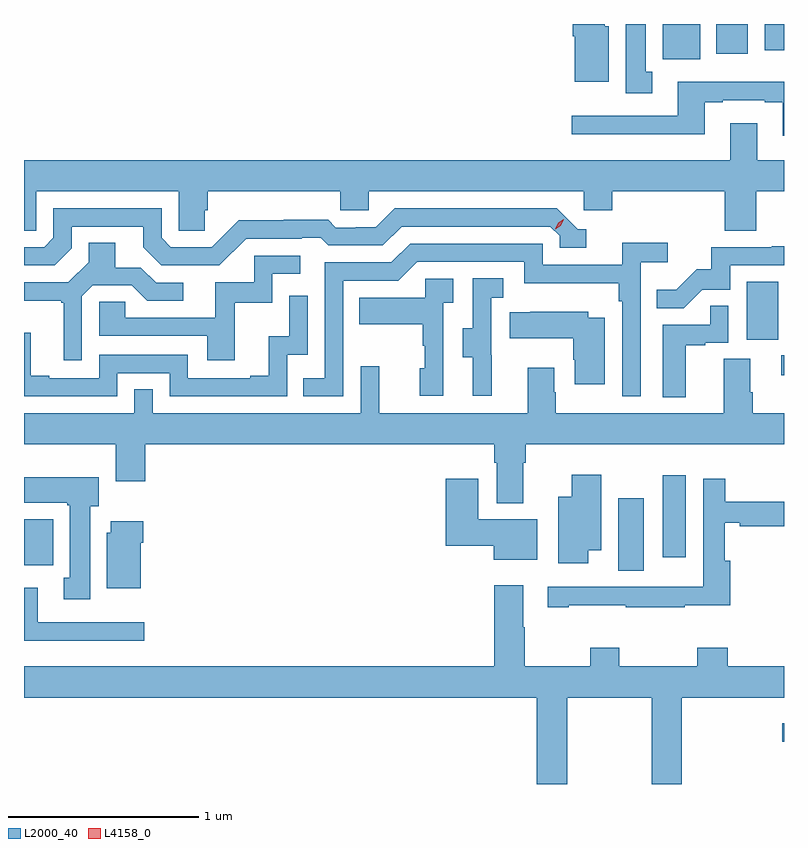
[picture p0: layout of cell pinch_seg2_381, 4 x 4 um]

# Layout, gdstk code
import gdstk
lib = gdstk.Library(unit=1e-6, precision=1e-09)
def R(c, l, rs):  # rectangles x0, y0, x1, y1
    for r in rs: c.add(gdstk.rectangle(r[:2], r[2:], *l))
def P(c, l, *ps):  # polygons
    for p in ps: c.add(gdstk.Polygon(p, *l))
L2000_40 = (2000, 40)
L4158_0 = (4158, 0)

pinch_seg2_381 = lib.new_cell('pinch_seg2_381')
R(pinch_seg2_381, L2000_40, [(977.181,607.443,977.189,607.54), (976.316,608.344,976.45,608.725), (973.189,608.372,973.342,608.614), (976.55,608.415,976.672,608.845), (977.175,609.372,977.189,609.477), (976.994,609.558,977.158,609.865), (976.55,611.036,976.747,611.221), (977.087,611.084,977.189,611.221)])
P(pinch_seg2_381, L2000_40, [(976.495,610.97),(976.462,610.97),(976.462,611.221),(976.355,611.221),(976.355,610.857),(976.495,610.857)],
  [(976.267,611.208),(976.246,611.208),(976.246,611.221),(976.076,611.221),(976.076,611.156),(976.088,611.156),(976.088,610.916),(976.267,610.916)],
  [(976.999,611.221),(976.889,611.221),(976.889,611.22),(976.832,611.22),(976.832,611.064),(976.999,611.064)],
  [(977.189,610.918),(976.631,610.918),(976.631,610.737),(976.071,610.737),(976.071,610.64),(976.771,610.64),(976.771,610.809),(976.867,610.809),(976.867,610.821),(977.087,610.821),(977.087,610.809),(977.183,610.809),(977.183,610.632),(977.189,610.632)],
  [(973.189,610.132),(973.254,610.132),(973.254,610.34),(974.004,610.34),(974.004,610.132),(974.141,610.132),(974.141,610.242),(974.156,610.242),(974.156,610.34),(974.853,610.34),(974.853,610.242),(975.003,610.242),(975.003,610.34),(976.134,610.34),(976.134,610.242),(976.286,610.242),(976.286,610.34),(976.877,610.34),(976.877,610.132),(977.042,610.132),(977.042,610.34),(977.189,610.34),(977.189,610.504),(977.047,610.504),(977.047,610.699),(976.907,610.699),(976.907,610.504),(973.189,610.504)],
  [(973.44,610.041),(973.44,610.155),(973.817,610.155),(973.817,610.045),(973.911,609.951),(974.217,609.951),(974.358,610.092),(974.651,610.092),(974.651,610.095),(974.75,610.095),(974.789,610.056),(975.078,610.056),(975.177,610.155),(975.96,610.155),(976.008,610.107),(976.008,610.044),(976.147,610.044),(976.147,610.14),(976.104,610.14),(975.993,610.251),(975.14,610.251),(975.041,610.152),(974.934,610.152),(974.934,610.149),(974.831,610.149),(974.789,610.192),(974.556,610.192),(974.556,610.189),(974.32,610.189),(974.178,610.047),(973.962,610.047),(973.914,610.095),(973.914,610.251),(973.344,610.251),(973.344,610.095),(973.296,610.047),(973.189,610.047),(973.189,609.951),(973.35,609.951)],
  [(973.494,609.789),(973.551,609.846),(973.757,609.846),(973.838,609.765),(974.026,609.765),(974.026,609.858),(973.884,609.858),(973.804,609.938),(973.669,609.938),(973.669,610.07),(973.529,610.07),(973.529,609.968),(973.422,609.861),(973.189,609.861),(973.189,609.764),(973.386,609.764),(973.386,609.753),(973.397,609.753),(973.397,609.45),(973.494,609.45)],
  [(974.868,609.87),(975.159,609.87),(975.258,609.969),(975.822,609.969),(975.822,609.857),(976.318,609.857),(976.318,609.761),(976.338,609.761),(976.338,609.261),(976.434,609.261),(976.434,609.968),(976.576,609.968),(976.576,610.07),(976.337,610.07),(976.337,609.954),(975.918,609.954),(975.918,610.065),(975.221,610.065),(975.122,609.966),(974.772,609.966),(974.772,609.357),(974.659,609.357),(974.659,609.261),(974.868,609.261)],
  [(976.76,609.822),(976.905,609.822),(976.905,609.951),(977.189,609.951),(977.189,610.052),(977.125,610.052),(977.125,610.047),(976.807,610.047),(976.807,609.93),(976.73,609.93),(976.623,609.823),(976.519,609.823),(976.519,609.724),(976.662,609.724)],
  [(974.297,609.753),(974.496,609.753),(974.496,609.906),(974.644,609.906),(974.644,610.002),(974.4,610.002),(974.4,609.861),(974.195,609.861),(974.195,609.675),(973.721,609.675),(973.721,609.759),(973.584,609.759),(973.584,609.579),(974.153,609.579),(974.153,609.45),(974.297,609.45)],
  [(975.65,609.477),(975.648,609.477),(975.648,609.781),(975.712,609.781),(975.712,609.884),(975.552,609.884),(975.552,609.621),(975.497,609.621),(975.497,609.466),(975.551,609.466),(975.551,609.264),(975.65,609.264)],
  [(975.396,609.755),(975.448,609.755),(975.448,609.879),(975.3,609.879),(975.3,609.781),(974.953,609.781),(974.953,609.641),(975.288,609.641),(975.288,609.527),(975.298,609.527),(975.298,609.408),(975.272,609.408),(975.272,609.264),(975.396,609.264)],
  [(973.68,609.384),(973.956,609.384),(973.956,609.261),(974.574,609.261),(974.574,609.48),(974.682,609.48),(974.682,609.79),(974.586,609.79),(974.586,609.578),(974.477,609.578),(974.477,609.37),(974.381,609.37),(974.381,609.357),(974.052,609.357),(974.052,609.48),(973.584,609.48),(973.584,609.357),(973.321,609.357),(973.321,609.37),(973.225,609.37),(973.225,609.595),(973.189,609.595),(973.189,609.261),(973.68,609.261)],
  [(976.672,609.531),(976.775,609.531),(976.775,609.543),(976.896,609.543),(976.896,609.737),(976.801,609.737),(976.801,609.639),(976.55,609.639),(976.55,609.257),(976.672,609.257)],
  [(976.246,609.676),(976.159,609.676),(976.159,609.706),(975.853,609.706),(975.853,609.703),(975.745,609.703),(975.745,609.566),(976.081,609.566),(976.081,609.453),(976.088,609.453),(976.088,609.324),(976.246,609.324)],
  [(975.817,608.912),(975.83,608.912),(975.83,609.008),(977.189,609.008),(977.189,609.172),(977.024,609.172),(977.024,609.284),(977.011,609.284),(977.011,609.458),(976.871,609.458),(976.871,609.172),(975.987,609.172),(975.987,609.284),(975.979,609.284),(975.979,609.412),(975.839,609.412),(975.839,609.172),(975.059,609.172),(975.059,609.421),(974.961,609.421),(974.961,609.172),(973.866,609.172),(973.866,609.299),(973.77,609.299),(973.77,609.172),(973.189,609.172),(973.189,609.008),(973.673,609.008),(973.673,608.814),(973.826,608.814),(973.826,609.008),(975.665,609.008),(975.665,608.912),(975.677,608.912),(975.677,608.699),(975.817,608.699)],
  [(976.159,608.45),(976.228,608.45),(976.228,608.848),(976.073,608.848),(976.073,608.734),(976.001,608.734),(976.001,608.382),(976.159,608.382)],
  [(973.537,608.682),(973.582,608.682),(973.582,608.836),(973.189,608.836),(973.189,608.702),(973.417,608.702),(973.417,608.689),(973.43,608.689),(973.43,608.306),(973.397,608.306),(973.397,608.193),(973.537,608.193)],
  [(975.889,608.614),(975.58,608.614),(975.58,608.827),(975.41,608.827),(975.41,608.474),(975.662,608.474),(975.662,608.402),(975.889,608.402)],
  [(976.057,608.161),(976.357,608.161),(976.357,608.151),(976.667,608.151),(976.667,608.161),(976.907,608.161),(976.907,608.395),(976.876,608.395),(976.876,608.597),(976.957,608.597),(976.957,608.578),(977.189,608.578),(977.189,608.707),(976.88,608.707),(976.88,608.827),(976.764,608.827),(976.764,608.26),(976.554,608.26),(976.554,608.259),(975.945,608.259),(975.945,608.151),(976.057,608.151)],
  [(973.804,608.492),(973.817,608.492),(973.817,608.605),(973.646,608.605),(973.646,608.544),(973.625,608.544),(973.625,608.252),(973.804,608.252)],
  [(976.047,607.676),(976.492,607.676),(976.492,607.221),(976.652,607.221),(976.652,607.676),(977.189,607.676),(977.189,607.84),(976.892,607.84),(976.892,607.939),(976.732,607.939),(976.732,607.84),(976.323,607.84),(976.323,607.939),(976.168,607.939),(976.168,607.84),(975.825,607.84),(975.825,608.045),(975.817,608.045),(975.817,608.266),(975.665,608.266),(975.665,607.84),(973.189,607.84),(973.189,607.676),(975.887,607.676),(975.887,607.221),(976.047,607.221)],
  [(973.822,608.073),(973.261,608.073),(973.261,608.254),(973.189,608.254),(973.189,607.976),(973.822,607.976)])
P(pinch_seg2_381, L4158_0, [(975.984,610.141),(975.984,610.141),(976,610.174),(976.031,610.193),(976.031,610.193),(976.031,610.193),(976.015,610.16),(975.984,610.141)])

lib.write_gds('pinch_seg2_381.gds')
